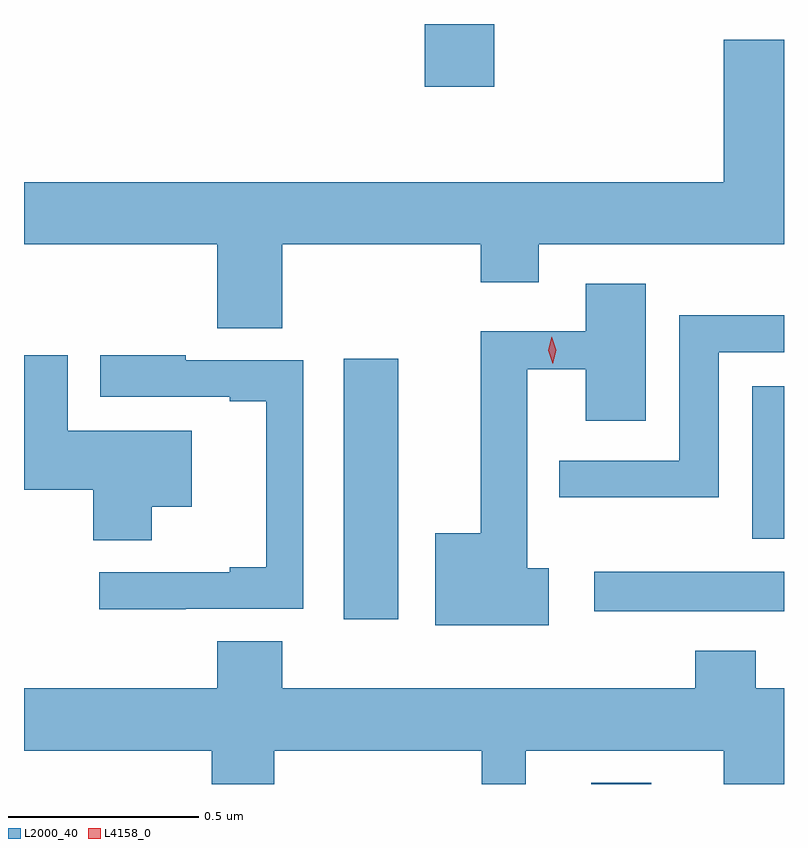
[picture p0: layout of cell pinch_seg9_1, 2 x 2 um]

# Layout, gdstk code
import gdstk
lib = gdstk.Library(unit=1e-6, precision=1e-09)
def R(c, l, rs):  # rectangles x0, y0, x1, y1
    for r in rs: c.add(gdstk.rectangle(r[:2], r[2:], *l))
def P(c, l, *ps):  # polygons
    for p in ps: c.add(gdstk.Polygon(p, *l))
L2000_40 = (2000, 40)
L4158_0 = (4158, 0)

pinch_seg9_1 = lib.new_cell('pinch_seg9_1')
R(pinch_seg9_1, L2000_40, [(1075.748,1245.616,1075.906,1245.619), (1075.097,1246.05,1075.24,1246.735), (1075.755,1246.07,1076.255,1246.174), (1076.171,1246.262,1076.255,1246.663), (1075.31,1247.451,1075.493,1247.616)])
P(pinch_seg9_1, L2000_40, [(1074.935,1247.036),(1075.457,1247.036),(1075.457,1246.937),(1075.609,1246.937),(1075.609,1247.036),(1076.255,1247.036),(1076.255,1247.575),(1076.096,1247.575),(1076.096,1247.2),(1074.255,1247.2),(1074.255,1247.036),(1074.764,1247.036),(1074.764,1246.816),(1074.935,1246.816)],
  [(1075.636,1246.184),(1075.579,1246.184),(1075.579,1246.708),(1075.733,1246.708),(1075.733,1246.572),(1075.891,1246.572),(1075.891,1246.933),(1075.733,1246.933),(1075.733,1246.807),(1075.457,1246.807),(1075.457,1246.276),(1075.337,1246.276),(1075.337,1246.034),(1075.636,1246.034)],
  [(1076.083,1246.752),(1076.255,1246.752),(1076.255,1246.85),(1075.979,1246.85),(1075.979,1246.467),(1075.664,1246.467),(1075.664,1246.37),(1076.083,1246.37)],
  [(1074.68,1246.077),(1074.99,1246.077),(1074.99,1246.731),(1074.68,1246.731),(1074.68,1246.744),(1074.455,1246.744),(1074.455,1246.635),(1074.797,1246.635),(1074.797,1246.623),(1074.893,1246.623),(1074.893,1246.186),(1074.797,1246.186),(1074.797,1246.173),(1074.453,1246.173),(1074.453,1246.076),(1074.68,1246.076)],
  [(1074.591,1246.346),(1074.697,1246.346),(1074.697,1246.546),(1074.37,1246.546),(1074.37,1246.744),(1074.255,1246.744),(1074.255,1246.391),(1074.437,1246.391),(1074.437,1246.258),(1074.591,1246.258)],
  [(1075.459,1245.616),(1075.576,1245.616),(1075.576,1245.704),(1076.096,1245.704),(1076.096,1245.616),(1076.255,1245.616),(1076.255,1245.868),(1076.181,1245.868),(1076.181,1245.967),(1076.021,1245.967),(1076.021,1245.868),(1074.935,1245.868),(1074.935,1245.992),(1074.764,1245.992),(1074.764,1245.868),(1074.255,1245.868),(1074.255,1245.704),(1074.749,1245.704),(1074.749,1245.616),(1074.914,1245.616),(1074.914,1245.704),(1075.459,1245.704)])
P(pinch_seg9_1, L4158_0, [(1075.646,1246.722),(1075.646,1246.722),(1075.635,1246.757),(1075.644,1246.793),(1075.644,1246.793),(1075.644,1246.793),(1075.655,1246.758),(1075.646,1246.722)])

lib.write_gds('pinch_seg9_1.gds')
